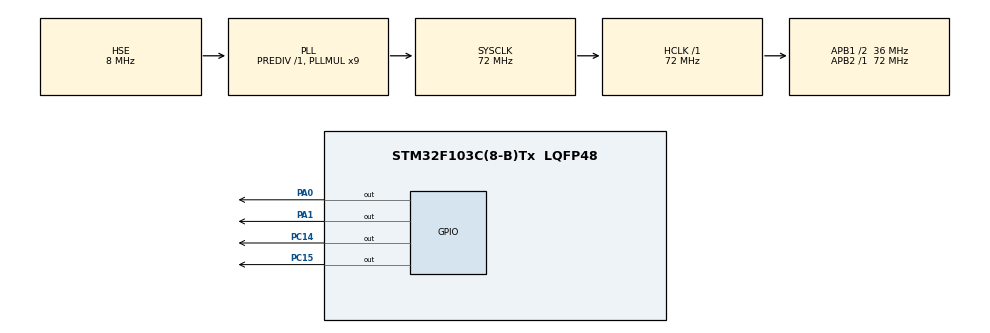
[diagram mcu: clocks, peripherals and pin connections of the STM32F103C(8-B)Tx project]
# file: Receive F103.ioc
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Mcu.Family=STM32F1
Mcu.Name=STM32F103C(8-B)Tx
Mcu.Package=LQFP48
NVIC.PriorityGroup=NVIC_PRIORITYGROUP_4
PA0-WKUP.Signal=GPIO_Output
PA1.Signal=GPIO_Output
PA13.Mode=Serial_Wire
PA13.Signal=SYS_JTMS-SWDIO
PA14.Mode=Serial_Wire
PA14.Signal=SYS_JTCK-SWCLK
PC14-OSC32_IN.Signal=GPIO_Output
PC15-OSC32_OUT.Signal=GPIO_Output
PD0-OSC_IN.Mode=HSE-External-Oscillator
PD0-OSC_IN.Signal=RCC_OSC_IN
PD1-OSC_OUT.Mode=HSE-External-Oscillator
PD1-OSC_OUT.Signal=RCC_OSC_OUT
ProjectManager.HeapSize=0x200
ProjectManager.StackSize=0x400
ProjectManager.TargetToolchain=STM32CubeIDE
RCC.AHBFreq_Value=72000000
RCC.APB1CLKDivider=RCC_HCLK_DIV2
RCC.APB1Freq_Value=36000000
RCC.APB1TimFreq_Value=72000000
RCC.APB2Freq_Value=72000000
RCC.APB2TimFreq_Value=72000000
RCC.HCLKFreq_Value=72000000
RCC.PLLMUL=RCC_PLL_MUL9
RCC.PLLSourceVirtual=RCC_PLLSOURCE_HSE
RCC.SYSCLKFreq_VALUE=72000000
RCC.SYSCLKSource=RCC_SYSCLKSOURCE_PLLCLK
RCC.USBFreq_Value=72000000
board=custom

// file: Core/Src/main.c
/* USER CODE BEGIN Header */
/**
  ******************************************************************************
  * @file           : main.c
  * @brief          : Main program body
  ******************************************************************************
  * @attention
  *
  * Copyright (c) 2022 STMicroelectronics.
  * All rights reserved.
  *
  * This software is licensed under terms that can be found in the LICENSE file
  * in the root directory of this software component.
  * If no LICENSE file comes with this software, it is provided AS-IS.
  *
  ******************************************************************************
  */
/* USER CODE END Header */
#include "main.h"

void SystemClock_Config(void);
static void MX_GPIO_Init(void);

int main(void)
{

  /* MCU Configuration--------------------------------------------------------*/

  /* Reset of all peripherals, Initializes the Flash interface and the Systick. */
  HAL_Init();

  /* Configure the system clock */
  SystemClock_Config();

  /* Initialize all configured peripherals */
  MX_GPIO_Init();

  /* Infinite loop */
  while (1)
  {

    /* USER CODE BEGIN 3 */
		HAL_GPIO_WritePin(GPIOC, GPIO_PIN_14, 1);
		HAL_GPIO_WritePin(GPIOC, GPIO_PIN_15, 0);
		HAL_GPIO_WritePin(GPIOA, GPIO_PIN_0, 0);
		HAL_GPIO_WritePin(GPIOA, GPIO_PIN_1, 0);

		HAL_Delay(1000);

		HAL_GPIO_WritePin(GPIOC, GPIO_PIN_14, 0);
		HAL_GPIO_WritePin(GPIOC, GPIO_PIN_15, 1);
		HAL_GPIO_WritePin(GPIOA, GPIO_PIN_0, 0);
		HAL_GPIO_WritePin(GPIOA, GPIO_PIN_1, 0);

		HAL_Delay(1000);

		HAL_GPIO_WritePin(GPIOC, GPIO_PIN_14, 0);
		HAL_GPIO_WritePin(GPIOC, GPIO_PIN_15, 0);
		HAL_GPIO_WritePin(GPIOA, GPIO_PIN_0, 1);
		HAL_GPIO_WritePin(GPIOA, GPIO_PIN_1, 0);

		HAL_Delay(1000);

		HAL_GPIO_WritePin(GPIOC, GPIO_PIN_14, 0);
		HAL_GPIO_WritePin(GPIOC, GPIO_PIN_15, 0);
		HAL_GPIO_WritePin(GPIOA, GPIO_PIN_0, 0);
		HAL_GPIO_WritePin(GPIOA, GPIO_PIN_1, 1);

		HAL_Delay(1000);
  /* USER CODE END 3 */
}

void SystemClock_Config(void)
{
  RCC_OscInitTypeDef RCC_OscInitStruct = {0};
  RCC_ClkInitTypeDef RCC_ClkInitStruct = {0};

  /** Initializes the RCC Oscillators according to the specified parameters
  * in the RCC_OscInitTypeDef structure.
  */
  RCC_OscInitStruct.OscillatorType = RCC_OSCILLATORTYPE_HSE;
  RCC_OscInitStruct.HSEState = RCC_HSE_ON;
  RCC_OscInitStruct.HSEPredivValue = RCC_HSE_PREDIV_DIV1;
  RCC_OscInitStruct.HSIState = RCC_HSI_ON;
  RCC_OscInitStruct.PLL.PLLState = RCC_PLL_ON;
  RCC_OscInitStruct.PLL.PLLSource = RCC_PLLSOURCE_HSE;
  RCC_OscInitStruct.PLL.PLLMUL = RCC_PLL_MUL9;
  if (HAL_RCC_OscConfig(&RCC_OscInitStruct) != HAL_OK)
  {
    Error_Handler();
  }

  /** Initializes the CPU, AHB and APB buses clocks
  */
  RCC_ClkInitStruct.ClockType = RCC_CLOCKTYPE_HCLK|RCC_CLOCKTYPE_SYSCLK
                              |RCC_CLOCKTYPE_PCLK1|RCC_CLOCKTYPE_PCLK2;
  RCC_ClkInitStruct.SYSCLKSource = RCC_SYSCLKSOURCE_PLLCLK;
  RCC_ClkInitStruct.AHBCLKDivider = RCC_SYSCLK_DIV1;
  RCC_ClkInitStruct.APB1CLKDivider = RCC_HCLK_DIV2;
  RCC_ClkInitStruct.APB2CLKDivider = RCC_HCLK_DIV1;

  if (HAL_RCC_ClockConfig(&RCC_ClkInitStruct, FLASH_LATENCY_2) != HAL_OK)
  {
    Error_Handler();
  }
}

static void MX_GPIO_Init(void)
{
  GPIO_InitTypeDef GPIO_InitStruct = {0};

  /* GPIO Ports Clock Enable */
  __HAL_RCC_GPIOC_CLK_ENABLE();
  __HAL_RCC_GPIOD_CLK_ENABLE();
  __HAL_RCC_GPIOA_CLK_ENABLE();

  /*Configure GPIO pin Output Level */
  HAL_GPIO_WritePin(GPIOC, GPIO_PIN_14|GPIO_PIN_15, GPIO_PIN_RESET);

  /*Configure GPIO pin Output Level */
  HAL_GPIO_WritePin(GPIOA, GPIO_PIN_0|GPIO_PIN_1, GPIO_PIN_RESET);

  /*Configure GPIO pins : PC14 PC15 */
  GPIO_InitStruct.Pin = GPIO_PIN_14|GPIO_PIN_15;
  GPIO_InitStruct.Mode = GPIO_MODE_OUTPUT_PP;
  GPIO_InitStruct.Pull = GPIO_NOPULL;
  GPIO_InitStruct.Speed = GPIO_SPEED_FREQ_LOW;
  HAL_GPIO_Init(GPIOC, &GPIO_InitStruct);

  /*Configure GPIO pins : PA0 PA1 */
  GPIO_InitStruct.Pin = GPIO_PIN_0|GPIO_PIN_1;
  GPIO_InitStruct.Mode = GPIO_MODE_OUTPUT_PP;
  GPIO_InitStruct.Pull = GPIO_NOPULL;
  GPIO_InitStruct.Speed = GPIO_SPEED_FREQ_LOW;
  HAL_GPIO_Init(GPIOA, &GPIO_InitStruct);

}

void Error_Handler(void)
{
  __disable_irq();
  while (1)
  {
  }
}
